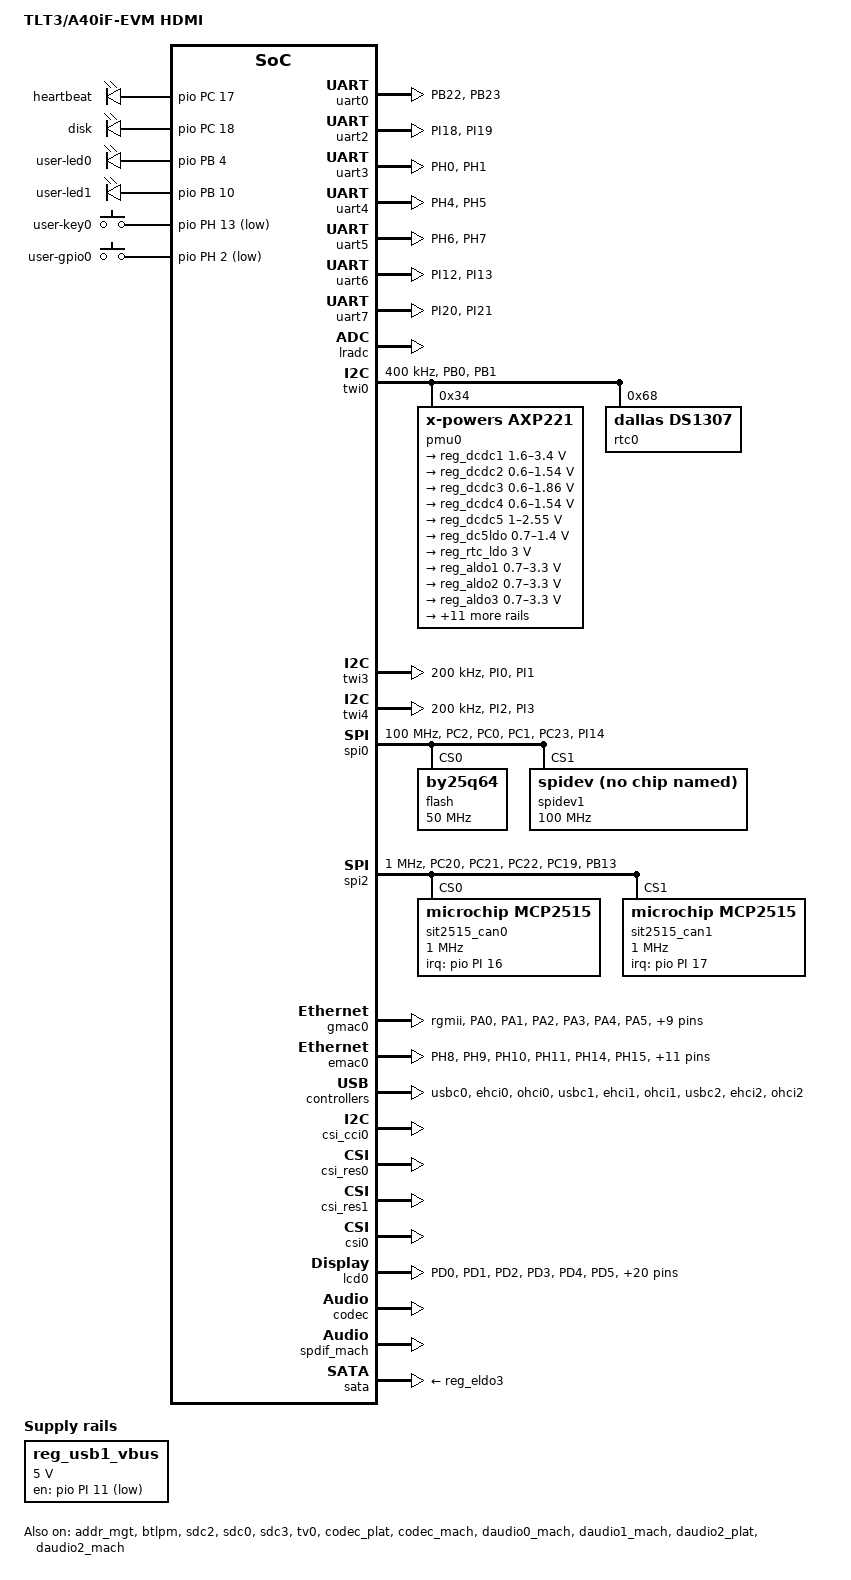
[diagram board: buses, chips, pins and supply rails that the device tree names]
/*
 * Copyright (C) 2015 GuangZhou Tronlong co., LTD - http://www.tronlong.com
 *
 * This program is free software; you can redistribute it and/or modify
 * it under the terms of the GNU General Public License version 2 as
 * published by the Free Software Foundation.
 */

/dts-v1/;

#include <dt-bindings/gpio/sun4i-gpio.h>

#include "sun8iw11p1.dtsi"

/{
	model = "TLT3/A40iF-EVM HDMI";

	aliases {
		pmu0 = &pmu0;
		standby_param = &standby_param;
		ethernet0 = &gmac0;
		ethernet1 = &emac0;
	};

	clk_sit2515: sit2515 {
		#clock-cells = <0>;
		compatible = "fixed-clock";
		clock-frequency = <16000000>;
		clock-output-names = "sit2515";
	};

	soc@1c00000 {
		card0_boot_para@2 {
		/* Avoid dtc compiling warnings. */
		reg = <0x0 0x2 0x0 0x0>;
		device_type = "card0_boot_para";
		card_ctrl = <0x0>;
		card_high_speed = <0x1>;
		card_line = <0x4>;
		pinctrl-0 = <&sdc0_pins_uboot>;
		};

		card2_boot_para@3 {
			/* Avoid dtc compiling warnings. */
			reg = <0x0 0x3 0x0 0x0>;
			device_type = "card2_boot_para";
			card_ctrl = <0x2>;
			card_high_speed = <0x1>;
			card_line = <0x8>;
			pinctrl-0 = <&sdc2_pins_uboot>;
			sdc_ex_dly_used = <0x2>;
			sdc_io_1v8 = <0x1>;
			sdc_type = "tm4";
		};

		platform@1 {
			eraseflag   = <1>;
			next_work   = <3>;
			debug_mode  = <1>;
		};
	};

	leds {
		compatible = "gpio-leds";
		status = "okay";

		led@0 {
			label = "heartbeat";
			gpios = <&pio PC 17 0>;   /* PC17 */
			linux,default-trigger = "heartbeat";
		};

		led@1 {
			label = "disk";
			gpios = <&pio PC 18 0>;   /* PC18 */
			linux,default-trigger = "mmc0";
		};

		led@2 {
			label = "user-led0";
			gpios = <&pio PB 4 0>;   /* PB4 */
			default-state = "on";
		};

		led@3 {
			label = "user-led1";
			gpios = <&pio PB 10 0>;   /* PB10 */
			default-state = "on";
		};
	};

	gpio-keys {
		compatible = "gpio-keys";
		#address-cells = <1>;
		#size-cells = <0>;

		user_key@0 {
			label = "user-key0";
			linux,code = <202>; /* KEY0-KEY_PROG3 */
			gpios = <&pio PH 13 1>;
			debounce-interval = <0>;
		};

		user_gpio@0 {
			label = "user-gpio0";
			linux,code = <194>; /* GPIO0-KEY_F24 */
			gpios = <&pio PH 2 1>;
			debounce-interval = <0>;
		};
	};

	standby_param: standby_param {
		vdd-cpu = <0x00000002>;
		vdd-sys = <0x00000004>;
		vcc-pll = <0x00000000>;
		osc24m-on = <0x1>;
	};

	reg_usb1_vbus: usb1-vbus {
		compatible = "regulator-fixed";
		gpio = <&pio PI 11 GPIO_ACTIVE_LOW>;
		regulator-name = "usb1-vbus";
		regulator-min-microvolt = <5000000>;
		regulator-max-microvolt = <5000000>;
		regulator-enable-ramp-delay = <1000>;
		enable-active-low;
	};

};
&pio {

	uart0_pins_a: uart0_pins@0 {
		pins = "PB22", "PB23";
		function = "uart0";
	};

	uart0_pins_b: uart0_pins@1 {
		pins = "PB22", "PB23";
		function = "gpio_in";
	};
	uart1_pins_a: uart1_pins@0 {
		pins = "PA10", "PA11", "PA12", "PA13",
					 "PA14", "PA15", "PA16", "PA17";
		function = "uart1";
	};

	uart1_pins_b: uart1_pins@1 {
		pins = "PA10", "PA11", "PA12", "PA13",
					 "PA14", "PA15", "PA16", "PA17";
		function = "gpio_in";
	};

	uart2_pins_a: uart2_pins@0 {
		pins = "PI18", "PI19";
		function = "uart2";
	};

	uart2_pins_b: uart2_pins@1 {
		pins = "PI18", "PI19";
		function = "gpio_in";
	};

	uart3_pins_a: uart3_pins@0 {
		pins = "PH0", "PH1";
		function = "uart3";
	};

	uart3_pins_b: uart3_pins@1 {
		pins = "PH0", "PH1";
		function = "gpio_in";
	};

	uart4_pins_a: uart4_pins@0 {
		pins = "PH4", "PH5";
		function = "uart4";
	};

	uart4_pins_b: uart4_pins@1 {
		pins = "PH4", "PH5";
		function = "gpio_in";
	};

	uart5_pins_a: uart5_pins@0 {
		pins = "PH6", "PH7";
		function = "uart5";
	};

	uart5_pins_b: uart5_pins@1 {
		pins = "PH6", "PH7";
		function = "gpio_in";
	};

	uart6_pins_a: uart6_pins@0 {
		pins = "PI12", "PI13";
		function = "uart6";
	};

	uart6_pins_b: uart6_pins@1 {
		pins = "PI12", "PI13";
		function = "gpio_in";
	};

	uart7_pins_a: uart7_pins@0 {
		pins ="PI20", "PI21" ;
		function = "uart7";
	};

	uart7_pins_b: uart7_pins@1 {
		pins ="PI20", "PI21" ;
		function = "gpio_in";
	};

	spi0_pins_a: spi0@0 {
		pins = "PC2", "PC0", "PC1";     /*CLK  MOSI  MISO*/
		function = "spi0";
		muxsel = <3>;
		drive-strength = <10>;
	};

	spi0_pins_cs0: spi0@1 {
		pins = "PC23";    /*CS0*/
		function = "spi0";
		muxsel = <3>;
		drive-strength = <10>;
		bias-pull-up;   /* only CS should be pulled up */
	};

	spi0_pins_cs1: spi0@2 {
		pins = "PI14";    /*CS1*/
		function = "spi0";
		muxsel = <3>;
		drive-strength = <10>;
		bias-pull-up;   /* only CS should be pulled up */
	};

	spi0_pins_c: spi0@3 {
		pins = "PC2", "PC0", "PC1", "PC15", "PC16", "PC23";
		function = "gpio_in";
		muxsel = <0>;
		drive-strength = <10>;
	};

	spi1_pins_a: spi1@0 {
		pins = "PA1", "PA2", "PA3";     /*CLK  MOSI  MISO*/
		function = "spi1";
		muxsel = <3>;
		drive-strength = <10>;
	};

	spi1_pins_cs: spi1@1 {
		pins = "PA0";    /*CS0*/
		function = "spi1";
		muxsel = <3>;
		drive-strength = <10>;
		bias-pull-up;   /* only CS should be pulled up */
	};

	spi2_pins_a: spi2@0 {
		pins = "PC20", "PC21", "PC22";     /*CLK  MOSI  MISO*/
		function = "spi2";
		muxsel = <3>;
		drive-strength = <10>;
	};

	spi2_pins_cs: spi2@1 {
		pins = "PC19", "PB13";    /*CS0*/
		function = "spi2";
		muxsel = <3>;
		drive-strength = <10>;
		bias-pull-up;   /* only CS should be pulled up */
	};

	sdc0_pins_uboot: sdc0_uboot@0 {
		pins = "PF0", "PF1", "PF2", "PF3","PF4","PF5";
		function = "sdc0";
		muxsel = <3>;
		bias-pull-up;
		drive-strength = <30>;
	};

	sdc2_pins_uboot: sdc2_uboot@0 {
		pins = "PC5", "PC6","PC7", "PC8", "PC9","PC10","PC11","PC12","PC13","PC14","PC15","PC24";
		function = "sdc2";
		muxsel = <3>;
		bias-pull-up;
		drive-strength = <30>;
	};

	sdc0_pins_a: sdc0@0 {
	                    pins = "PF0", "PF1", "PF2",
	                           "PF3", "PF4", "PF5";
	                    function = "sdc0";
	                    drive-strength = <30>;
	                    bias-pull-up;
	            };

	sdc0_pins_b: sdc0@1 {
	        pins = "PF0", "PF1", "PF2",
	               "PF3", "PF4", "PF5";
	        function = "sdc0";
	        drive-strength = <30>;
	        bias-pull-up;
	};

	sdc0_pins_c: sdc0@2 {
	        pins = "PF0", "PF1", "PF2",
	               "PF3", "PF4", "PF5";
	        function = "gpio_in";
	};

	/* TODO: add jtag pin */
	sdc0_pins_d: sdc0@3 {
	        pins = "PF2", "PF4";
	        function = "uart0";
	        drive-strength = <10>;
	        bias-pull-up;
	};

	sdc0_pins_e: sdc0@4 {
	        pins = "PF0", "PF1", "PF3",
	                "PF5";
	        function = "jtag";
	        drive-strength = <10>;
	        bias-pull-up;
	};

	sdc1_pins_a: sdc1@0 {
		pins = "PH22", "PH23", "PH24", "PH25", "PH26", "PH27";
		function = "sdc1";
		drive-strength = <30>;
		bias-pull-up;
	};

	sdc1_pins_b: sdc1@1 {
		pins = "PH22", "PH23", "PH24", "PH25", "PH26", "PH27";
		function = "gpio_in";
		bias-pull-up;
	};

	sdc2_pins_a: sdc2@0 {
		pins = "PC6","PC7", "PC8", "PC9","PC10","PC11","PC12","PC13","PC14","PC15","PC24";
		function = "sdc2";
		drive-strength = <30>;
		bias-pull-up;
	};

	sdc2_pins_b: sdc2@1 {
		pins = "PC6","PC7", "PC8", "PC9","PC10","PC11","PC12","PC13","PC14","PC15","PC24";
		function = "gpio_in";
		bias-pull-up;
	};

	sdc2_pins_c: sdc2@2 {
		allwinner,pins = "PC5";
		allwinner,function = "sdc2";
		drive-strength = <30>;
		bias-pull-down;
	};

	sdc3_pins_a: sdc3@0 {
		pins = "PI4", "PI5","PI6", "PI7", "PI8","PI9";
		function = "sdc3";
		allwinner,drive = <3>;
		drive-strength = <30>;
		bias-pull-up;
	};

	sdc3_pins_b: sdc3@1 {
		pins = "PI4", "PI5","PI6", "PI7", "PI8","PI9";
		function = "io_disabled";
		allwinner,drive = <3>;
		drive-strength = <30>;
		bias-pull-up;
	};

	gmac_pins_a: gmac@0 {
		allwinner,pins = "PA0", "PA1", "PA2", "PA3",
				"PA4", "PA5", "PA6", "PA7",
				"PA8", "PA9", "PA10", "PA11",
				"PA11", "PA12", "PA13", "PA15";
		allwinner,function = "gmac0";
		allwinner,muxsel = <5>;
		allwinner,drive = <3>;
		allwinner,pull = <0>;
	};

	emac_pins_a: emac@0 {
		allwinner,pins = "PH8", "PH9", "PH10", "PH11",
				"PH14", "PH15", "PH16", "PH17",
				"PH18", "PH19", "PH20", "PH21",
				"PH22", "PH23", "PH24", "PH25",
				"PH26";
		allwinner,function = "emac0";
		allwinner,muxsel = <3>;
		allwinner,drive = <3>;
		allwinner,pull = <0>;
	};

	pwm0_pin_a: pwm0@0 {
		pins = "PB2";
		function = "pwm0";
		drive-strength = <10>;
		bias-pull-up;
	};

	pwm0_pin_b: pwm0@1 {
		pins = "PB2";
		function = "gpio_in";
		bias-disable;
	};

	pwm1_pin_a: pwm1@0 {
		pins = "PB3";
		function = "pwm1";
		drive-strength = <10>;
		bias-pull-up;
	};

	pwm1_pin_b: pwm1@1 {
		pins = "PB3";
		function = "gpio_in";
		bias-disable;
	};

	pwm4_pin_a: pwm4@0 {
		pins = "PB20";
		function = "pwm4";
		drive-strength = <10>;
		bias-pull-up;
	};

	pwm4_pin_b: pwm4@1 {
		pins = "PB20";
		function = "gpio_in";
		bias-disable;
	};

	twi0_pins_a: twi0@0 {
		pins = "PB0", "PB1";
		function = "twi0";
		drive-strength = <10>;
		bias-pull-up;
	};

	twi0_pins_b: twi0@1 {
		pins = "PB0", "PB1";
		function = "gpio_in";
	};

	twi1_pins_a: twi1@0 {
		pins = "PB18", "PB19";
		function = "twi1";
		drive-strength = <10>;
		bias-pull-up;
	};

	twi1_pins_b: twi1@1 {
		pins = "PB18", "PB19";
		function = "gpio_in";
	};

	twi2_pins_a: twi2@0 {
		pins = "PB20", "PB21";
		function = "twi2";
		drive-strength = <10>;
		bias-pull-up;
	};

	twi2_pins_b: twi2@1 {
		pins = "PB20", "PB21";
		function = "gpio_in";
	};

	twi3_pins_a: twi3@0 {
		pins = "PI0", "PI1";
		function = "twi3";
		drive-strength = <10>;
		bias-pull-up;
	};

	twi3_pins_b: twi3@1 {
		pins = "PI0", "PI1";
		function = "gpio_in";
	};

	twi4_pins_a: twi4@0 {
		pins = "PI2", "PI3";
		function = "twi4";
		drive-strength = <10>;
		bias-pull-up;
	};

	twi4_pins_b: twi4@1 {
		pins = "PI2", "PI3";
		function = "gpio_in";
	};

	spdif_pins_a: spdif@0 {
		pins = "PB3", "PB12", "PB13";
		function = "spdif0";
		drive-strength = <20>;
		bias-disable;
	};

	spdif_pins_b: spdif_sleep@0 {
		pins = "PB3", "PB12", "PB13";
		function = "io_disabled";
		drive-strength = <20>;
		bias-disable;
	};

	daudio0_pins_a: daudio0@0 {
		pins = "PB5", "PB6", "PB7", "PB8",
		       "PB9", "PB10", "PB11", "PB12";
		function = "i2s0";
		drive-strength = <20>;
		bias-disable;
	};

	daudio0_pins_b: daudio0_sleep@0 {
		pins = "PB5", "PB6", "PB7", "PB8",
		       "PB9", "PB10", "PB11", "PB12";
		function = "io_disabled";
		drive-strength = <20>;
		bias-disable;
	};

	daudio1_pins_a: daudio1@0 {
		pins = "PA9", "PA14", "PA15",
		       "PA16", "PA17";
		function = "i2s1";
		drive-strength = <20>;
		bias-disable;
	};

	daudio1_pins_b: daudio1_sleep@0 {
		pins = "PA9", "PA14", "PA15",
		       "PA16", "PA17";
		function = "io_disabled";
		drive-strength = <20>;
		bias-disable;
	};

	ir0_pins_a: ir0@0 {
		pins = "PB4";
		function = "ir0";
		drive-strength = <10>;
		bias-pull-up;
	};

	ir0_pins_b: ir0@1 {
		pins = "PB4";
		function = "gpio_in";
		bias-disable;
	};

	ir1_pins_a: ir1@0 {
		pins = "PB23";
		function = "ir1";
		drive-strength = <10>;
		bias-pull-up;
	};

	ir1_pins_b: ir1@1 {
		pins = "PB23";
		function = "gpio_in";
		bias-disable;
	};

	rgb18_pins_a: rgb18@0 {
		pins = "PD0", "PD1", "PD2", "PD3", "PD4", "PD5", \
			"PD6", "PD7", "PD8", "PD9", "PD10", "PD11", \
			"PD12", "PD13", "PD14", "PD15", "PD16", "PD17", \
			"PD18", "PD19", "PD20", "PD21", "PD22", "PD23", \
			"PD24", "PD25";
		function = "lcd0";
		drive-strength = <30>;
		bias-disable;
	};

	rgb18_pins_b: rgb18@1 {
		pins = "PD0", "PD1", "PD2", "PD3", "PD4", "PD5", \
			"PD6", "PD7", "PD8", "PD9", "PD10", "PD11", \
			"PD12", "PD13", "PD14", "PD15", "PD16", "PD17", \
			"PD18", "PD19", "PD20", "PD21", "PD22", "PD23", \
			"PD24", "PD25";
		function = "io_disabled";
		bias-disable;
	};

	vga_sync_a: vga_sync@0 {
		pins = "PD26", "PD27";
		function = "lcd0";
		drive-strength = <30>;
		bias-disable;
	};

	vga_sync_b: vga_sync@1 {
		pins = "PD26", "PD27";
		function = "io_disabled";
		drive-strength = <30>;
		bias-disable;
	};
};

&uart0 {
	pinctrl-names = "default", "sleep";
	pinctrl-0 = <&uart0_pins_a>;
	pinctrl-1 = <&uart0_pins_b>;
	status = "okay";
};

&uart1 {
	pinctrl-names = "default", "sleep";
	pinctrl-0 = <&uart1_pins_a>;
	pinctrl-1 = <&uart1_pins_b>;
	status = "disabled";
};

&uart2 {
	pinctrl-names = "default", "sleep";
	pinctrl-0 = <&uart2_pins_a>;
	pinctrl-1 = <&uart2_pins_b>;
	status = "okay";
};

&uart3 {
	pinctrl-names = "default", "sleep";
	pinctrl-0 = <&uart3_pins_a>;
	pinctrl-1 = <&uart3_pins_b>;
	status = "okay";
};

&uart4 {
	pinctrl-names = "default", "sleep";
	pinctrl-0 = <&uart4_pins_a>;
	pinctrl-1 = <&uart4_pins_b>;
	status = "okay";
};

&uart5 {
	pinctrl-names = "default", "sleep";
	pinctrl-0 = <&uart5_pins_a>;
	pinctrl-1 = <&uart5_pins_b>;
	/* rs485-enable = <0>;					*/
	/* rs485-mode = <0>;   /* defalut 0:rx 1:tx		*/
	/* rs485-mode-pin = <&pio PH 8 GPIO_ACTIVE_LOW>;	*/
	status = "okay";
};

&uart6 {
	pinctrl-names = "default", "sleep";
	pinctrl-0 = <&uart6_pins_a>;
	pinctrl-1 = <&uart6_pins_b>;
	status = "okay";
};

&uart7 {
	pinctrl-names = "default", "sleep";
	pinctrl-0 = <&uart7_pins_a>;
	pinctrl-1 = <&uart7_pins_b>;
	status = "okay";
};

&lradc{
	status = "okay";
	key_cnt = <5>;
	key0 = <190 148>;		/* KEY0-KEY_PROG1 */
	key1 = <390 114>;
	key2 = <600 139>;
	key3 = <800 28>;
	key4 = <980 102>;
	keyadc1_cnt = <5>;
	keyadc1_0 = <190 149>;		/* KEY0-KEY_PROG2 */
	keyadc1_1 = <390 203>;		/* KEY0-KEY_PROG4 */
	keyadc1_2 = <600 240>;		/* KEY0-KEY_UNKNOWN */
	keyadc1_3 = <800 240>;		/* KEY0-KEY_UNKNOWN */
	keyadc1_4 = <980 240>;		/* KEY0-KEY_UNKNOWN */
	wakeup-source;
};

&ir0 {
	pinctrl-names = "default", "sleep";
	pinctrl-0 = <&ir0_pins_a>;
	pinctrl-1 = <&ir0_pins_b>;
	status = "disabled";
};

&ir1 {
	pinctrl-names = "default", "sleep";
	pinctrl-0 = <&ir1_pins_a>;
	pinctrl-1 = <&ir1_pins_b>;
	status = "disabled";
};

&twi0 {
	clock-frequency = <400000>;
	pinctrl-0 = <&twi0_pins_a>;
	pinctrl-1 = <&twi0_pins_b>;
	pinctrl-names = "default", "sleep";
	no_suspend = <1>;
	status = "okay";
	pmu0: pmu@34 {
		compatible = "x-powers,axp221";
		reg = <0x34>;
		status = "okay";
		interrupts = <0 IRQ_TYPE_LEVEL_LOW>;
		interrupt-parent = <&nmi_intc>;
		x-powers,gpio-vbus-en;
		pmu_reset = <0>;
		pmu_irq_wakeup = <1>;
		pmu_hot_shutdown = <1>;

		wakeup-source;

		powerkey0: powerkey@0 {
			status = "okay";
			compatible = "x-powers,axp2101-pek";
			pmu_powkey_off_time = <6000>;
			pmu_powkey_off_func = <0>;
			pmu_powkey_off_en = <1>;
			pmu_powkey_long_time = <1500>;
			pmu_powkey_on_time = <1000>;
			wakeup_rising;
			wakeup_falling;
		};

		usb_power_supply: usb_power_supply {
			compatible = "x-powers,axp22x-usb-power-supply";
			status = "okay";

			pmu_usbpc_vol = <4400>;
			pmu_usbpc_cur = <500>;
			pmu_usbad_vol = <4000>;
			pmu_usbad_cur = <2500>;
			pmu_usb_typec_used = <1>;
			wakeup_usb_in;
			wakeup_usb_out;
		};

		ac_power_supply: ac-power-supply {
			compatible = "x-powers,axp22x-ac-power-supply";
			status = "okay";

			pmu_ac_vol = <4000>;
			pmu_ac_cur = <3000>;

			wakeup_ac_in;
			wakeup_ac_out;
		};

		bat_power_supply: bat_power_supply {
			compatible = "x-powers,axp22x-bat-power-supply";
			status = "okay";

			pmu_bat_unused = <1>;
			pmu_chg_ic_temp = <0>;
			pmu_battery_rdc= <100>;
			pmu_battery_cap = <4000>;
			pmu_runtime_chgcur = <300>;
			pmu_suspend_chgcur = <1000>;
			pmu_shutdown_chgcur = <1500>;
			pmu_init_chgvol = <4200>;
			pmu_battery_warning_level1 = <15>;
			pmu_battery_warning_level2 = <0>;
			pmu_chgled_func = <0>;
			pmu_chgled_type = <0>;
			pmu_bat_para1 = <0>;
			pmu_bat_para2 = <0>;
			pmu_bat_para3 = <0>;
			pmu_bat_para4 = <0>;
			pmu_bat_para5 = <0>;
			pmu_bat_para6 = <0>;
			pmu_bat_para7 = <0>;
			pmu_bat_para8 = <0>;
			pmu_bat_para9 = <5>;
			pmu_bat_para10 = <8>;
			pmu_bat_para11 = <9>;
			pmu_bat_para12 = <10>;
			pmu_bat_para13 = <13>;
			pmu_bat_para14 = <16>;
			pmu_bat_para15 = <20>;
			pmu_bat_para16 = <33>;
			pmu_bat_para17 = <41>;
			pmu_bat_para18 = <46>;
			pmu_bat_para19 = <50>;
			pmu_bat_para20 = <53>;
			pmu_bat_para21 = <57>;
			pmu_bat_para22 = <61>;
			pmu_bat_para23 = <67>;
			pmu_bat_para24 = <73>;
			pmu_bat_para25 = <78>;
			pmu_bat_para26 = <84>;
			pmu_bat_para27 = <88>;
			pmu_bat_para28 = <92>;
			pmu_bat_para29 = <93>;
			pmu_bat_para30 = <94>;
			pmu_bat_para31 = <95>;
			pmu_bat_para32 = <100>;

			pmu_bat_temp_enable = <0>;
			pmu_bat_charge_ltf = <2261>;
			pmu_bat_charge_htf = <388>;
			pmu_bat_shutdown_ltf = <3200>;
			pmu_bat_shutdown_htf = <237>;
			pmu_bat_temp_para1 = <7466>;
			pmu_bat_temp_para2 = <4480>;
			pmu_bat_temp_para3 = <3518>;
			pmu_bat_temp_para4 = <2786>;
			pmu_bat_temp_para5 = <2223>;
			pmu_bat_temp_para6 = <1788>;
			pmu_bat_temp_para7 = <1448>;
			pmu_bat_temp_para8 = <969>;
			pmu_bat_temp_para9 = <664>;
			pmu_bat_temp_para10 = <466>;
			pmu_bat_temp_para11 = <393>;
			pmu_bat_temp_para12 = <333>;
			pmu_bat_temp_para13 = <283>;
			pmu_bat_temp_para14 = <242>;
			pmu_bat_temp_para15 = <179>;
			pmu_bat_temp_para16 = <134>;

			wakeup_bat_out;
			/* wakeup_bat_in; */
			/* wakeup_bat_charging; */
			/* wakeup_bat_charge_over; */
			/* wakeup_low_warning1; */
			/* wakeup_low_warning2; */
			/* wakeup_bat_untemp_work; */
			/* wakeup_bat_ovtemp_work; */
			/* wakeup_bat_untemp_chg; */
			/* wakeup_bat_ovtemp_chg; */
		};

		regulator0: regulators@0 {
			reg_dcdc1: dcdc1 {
				regulator-name = "axp22x-dcdc1";
				regulator-min-microvolt = <1600000>;
				regulator-max-microvolt = <3400000>;
				regulator-ramp-delay = <160>;
				regulator-enable-ramp-delay = <1000>;
				regulator-boot-on;
				regulator-always-on;
			};
			reg_dcdc2: dcdc2 {
				regulator-name = "axp22x-dcdc2";
				regulator-min-microvolt = <600000>;
				regulator-max-microvolt = <1540000>;
				regulator-final-delay-us = <1000>;
				regulator-ramp-delay = <160>;
				regulator-enable-ramp-delay = <1000>;
				regulator-boot-on;
				regulator-always-on;
			};
			reg_dcdc3: dcdc3 {
				regulator-name = "axp22x-dcdc3";
				regulator-min-microvolt = <600000>;
				regulator-max-microvolt = <1860000>;
				regulator-ramp-delay = <160>;
				regulator-enable-ramp-delay = <1000>;
				regulator-boot-on;
				regulator-always-on;
			};
			reg_dcdc4: dcdc4 {
				regulator-name = "axp22x-dcdc4";
				regulator-min-microvolt = <600000>;
				regulator-max-microvolt = <1540000>;
				regulator-ramp-delay = <160>;
				regulator-enable-ramp-delay = <1000>;
				regulator-boot-on;
				regulator-always-on;
			};
			reg_dcdc5: dcdc5 {
				regulator-name = "axp22x-dcdc5";
				regulator-min-microvolt = <1000000>;
				regulator-max-microvolt = <2550000>;
				regulator-ramp-delay = <160>;
				regulator-enable-ramp-delay = <1000>;
				regulator-boot-on;
				regulator-always-on;
			};
			reg_dc5ldo: dc5ldo {
				regulator-name = "axp22x-dc5ldo";
				regulator-min-microvolt = <700000>;
				regulator-max-microvolt = <1400000>;
				regulator-ramp-delay = <160>;
				regulator-enable-ramp-delay = <1000>;
				regulator-boot-on;
				regulator-always-on;
			};
			reg_rtc_ldo: rtc_ldo {
				/* RTC_LDO is a fixed, always-on regulator */
				regulator-name = "axp22x-rtc_ldo";
				regulator-min-microvolt = <3000000>;
				regulator-max-microvolt = <3000000>;
				regulator-boot-on;
				regulator-always-on;
			};
			reg_aldo1: aldo1 {
				regulator-name = "axp22x-aldo1";
				regulator-min-microvolt = <700000>;
				regulator-max-microvolt = <3300000>;
				regulator-enable-ramp-delay = <1000>;
			};
			reg_aldo2: aldo2 {
				regulator-name = "axp22x-aldo2";
				regulator-min-microvolt = <700000>;
				regulator-max-microvolt = <3300000>;
				regulator-enable-ramp-delay = <1000>;
				regulator-boot-on;
				regulator-always-on;
			};
			reg_aldo3: aldo3 {
				regulator-name = "axp22x-aldo3";
				regulator-min-microvolt = <700000>;
				regulator-max-microvolt = <3300000>;
				regulator-enable-ramp-delay = <1000>;
				regulator-always-on;
			};
			reg_dldo1: dldo1 {
				regulator-name = "axp22x-dldo1";
				regulator-min-microvolt = <3300000>;
				regulator-max-microvolt = <3300000>;
				regulator-enable-ramp-delay = <1000>;
				regulator-always-on;
				regulator-boot-on;
			};
			reg_dldo2: dldo2 {
				regulator-name = "axp22x-dldo2";
				regulator-min-microvolt = <700000>;
				regulator-max-microvolt = <3300000>;
				regulator-enable-ramp-delay = <1000>;
			};
			reg_dldo3: dldo3 {
				regulator-name = "axp22x-dldo3";
				regulator-min-microvolt = <700000>;
				regulator-max-microvolt = <3300000>;
				regulator-enable-ramp-delay = <1000>;
				regulator-always-on;
				regulator-boot-on;
			};
			reg_dldo4: dldo4 {
				regulator-name = "axp22x-dldo4";
				regulator-min-microvolt = <2500000>;
				regulator-max-microvolt = <2500000>;
				regulator-enable-ramp-delay = <1000>;
				regulator-always-on;
				regulator-boot-on;
			};
			reg_eldo1: eldo1 {
				regulator-name = "axp22x-eldo1";
				regulator-min-microvolt = <2800000>;
				regulator-max-microvolt = <2800000>;
				regulator-enable-ramp-delay = <1000>;
				regulator-always-on;
				regulator-boot-on;
			};
			reg_eldo2: eldo2 {
				regulator-name = "axp22x-eldo2";
				regulator-min-microvolt = <3300000>;
				regulator-max-microvolt = <3300000>;
				regulator-enable-ramp-delay = <1000>;
				regulator-always-on;
				regulator-boot-on;
			};
			reg_eldo3: eldo3 {
				regulator-name = "axp22x-eldo3";
				regulator-min-microvolt = <1200000>;
				regulator-max-microvolt = <1200000>;
				regulator-enable-ramp-delay = <1000>;
				regulator-always-on;
				regulator-boot-on;
			};
			reg_ldo_io0: ldo_io0 {
				regulator-name = "axp22x-ldo_io0";
				regulator-min-microvolt = <700000>;
				regulator-max-microvolt = <3300000>;
				regulator-enable-ramp-delay = <1000>;
			};
			reg_ldo_io1: ldo_io1 {
				regulator-name = "axp22x-ldo_io1";
				regulator-min-microvolt = <700000>;
				regulator-max-microvolt = <3300000>;
				regulator-enable-ramp-delay = <1000>;
			};
			reg_dc1sw: dc1sw {
				regulator-name = "axp22x-dc1sw";
				regulator-enable-ramp-delay = <1000>;
			};
			reg_drivevbus: drivevbus {
				regulator-name = "axp22x-drivevbus";
				regulator-enable-ramp-delay = <1000>;
			};
		};

		virtual-dcdc1 {
			compatible = "xpower-vregulator,dcdc1";
			dcdc1-supply = <&reg_dcdc1>;
		};
		virtual-dcdc2 {
			compatible = "xpower-vregulator,dcdc2";
			dcdc2-supply = <&reg_dcdc2>;
		};
		virtual-dcdc3 {
			compatible = "xpower-vregulator,dcdc3";
			dcdc3-supply = <&reg_dcdc3>;
		};
		virtual-dcdc4 {
			compatible = "xpower-vregulator,dcdc4";
			dcdc4-supply = <&reg_dcdc4>;
		};
		virtual-dcdc5 {
			compatible = "xpower-vregulator,dcdc5";
			dcdc5-supply = <&reg_dcdc5>;
		};
		virtual-rtc_ldo {
			compatible = "xpower-vregulator,rtc_ldo";
			rtc_ldo-supply = <&reg_rtc_ldo>;
		};
		virtual-aldo1 {
			compatible = "xpower-vregulator,aldo1";
			aldo1-supply = <&reg_aldo1>;
		};
		virtual-aldo2 {
			compatible = "xpower-vregulator,aldo2";
			aldo2-supply = <&reg_aldo2>;
		};
		virtual-aldo3 {
			compatible = "xpower-vregulator,aldo3";
			aldo3-supply = <&reg_aldo3>;
		};
		virtual-dldo1 {
			compatible = "xpower-vregulator,dldo1";
			dldo1-supply = <&reg_dldo1>;
		};
		virtual-dldo2 {
			compatible = "xpower-vregulator,dldo2";
			dldo2-supply = <&reg_dldo2>;
		};
		virtual-dldo3 {
			compatible = "xpower-vregulator,dldo3";
			dldo3-supply = <&reg_dldo3>;
		};
		virtual-dldo4 {
			compatible = "xpower-vregulator,dldo4";
			dldo4-supply = <&reg_dldo4>;
		};
		virtual-eldo1 {
			compatible = "xpower-vregulator,eldo1";
			eldo1-supply = <&reg_eldo1>;
		};
		virtual-eldo2 {
			compatible = "xpower-vregulator,eldo2";
			eldo2-supply = <&reg_eldo2>;
		};
		virtual-eldo3 {
			compatible = "xpower-vregulator,eldo3";
			eldo3-supply = <&reg_eldo3>;
		};
		virtual-ldo_io0 {
			compatible = "xpower-vregulator,ldo_io0";
			ldo_io0-supply = <&reg_ldo_io0>;
		};
		virtual-ldo_io1 {
			compatible = "xpower-vregulator,ldo_io1";
			ldo_io1-supply = <&reg_ldo_io1>;
		};
		virtual-dc5ldo {
			compatible = "xpower-vregulator,dc5ldo";
			dc5ldo-supply = <&reg_dc5ldo>;
		};
		virtual-dc1sw {
			compatible = "xpower-vregulator,dc1sw";
			dc1sw-supply = <&reg_dc1sw>;
		};
		axp_gpio0: axp_gpio@0 {
			gpio-controller;
			#size-cells = <0>;
			#gpio-cells = <6>;
			compatible = "x-powers,axp22x-gpio";
			status = "okay";
		};
	};

	rtc0: rtc@0 {
		compatible = "dallas,ds1307";
		reg = <0x68>;
	};
};

&twi1 {
	clock-frequency = <200000>;
	pinctrl-0 = <&twi1_pins_a>;
	pinctrl-1 = <&twi1_pins_b>;
	pinctrl-names = "default", "sleep";
	status = "disabled";
};

&twi2 {
	clock-frequency = <200000>;
	pinctrl-0 = <&twi2_pins_a>;
	pinctrl-1 = <&twi2_pins_b>;
	pinctrl-names = "default", "sleep";
	status = "disabled";
};

&twi3 {
	clock-frequency = <200000>;
	pinctrl-0 = <&twi3_pins_a>;
	pinctrl-1 = <&twi3_pins_b>;
	pinctrl-names = "default", "sleep";
	status = "okay";
};

&twi4 {
	clock-frequency = <200000>;
	pinctrl-0 = <&twi4_pins_a>;
	pinctrl-1 = <&twi4_pins_b>;
	pinctrl-names = "default", "sleep";
	status = "okay";
};

&rtp {
	allwinner,tp-sensitive-adjust = <0x2>;
	allwinner,filter-type = <0x3>;
	status = "disabled";
};

&spi0 {
	clock-frequency = <100000000>;
	pinctrl-names = "default", "sleep";
	pinctrl-0 = <&spi0_pins_a &spi0_pins_cs0 &spi0_pins_cs1>;
	pinctrl-1 = <&spi0_pins_c>;
	spi_slave_mode = <0>;
	status = "okay";

	flash: by25q64@0 {
		compatible = "by25q64", "jedec,spi-nor";
		reg = <0>;
		spi-max-frequency = <50000000>;
		mode = <0>;
		m25p,fast-read;
		status = "okay";
	};

	spidev1: spi@1 {
		compatible = "rohm,dh2228fv";
		reg = <1>;
		spi-max-frequency = <100000000>;
		spi-rx-bus-width = <0x1>;
		spi-tx-bus-width = <0x1>;
		status = "okay";
	};
};

&spi1 {
	clock-frequency = <100000000>;
	pinctrl-names = "default";
	pinctrl-0 = <&spi1_pins_a &spi1_pins_cs>;
	spi_slave_mode = <0>;
	status = "disabled";
};

&spi2 {
	clock-frequency = <1000000>;
	pinctrl-names = "default";
	pinctrl-0 = <&spi2_pins_a &spi2_pins_cs>;
	spi_slave_mode = <0>;
	status = "okay";

	sit2515_can0: sit2515@0 {
		#address-cells=<1>;
		#size-cells=<1>;
		compatible = "microchip,mcp2515";
		pinctrl-names = "default";
		reg = <0>;
		spi-max-frequency = <1000000>;
		clocks = <&clk_sit2515>;
		interrupt-parent = <&pio>;
		interrupts = <PI 16 IRQ_TYPE_LEVEL_LOW>;
		status = "okay";
	};

	sit2515_can1: sit2515@1 {
		#address-cells=<1>;
		#size-cells=<1>;
		compatible = "microchip,mcp2515";
		pinctrl-names = "default";
		reg = <1>;
		spi-max-frequency = <1000000>;
		clocks = <&clk_sit2515>;
		interrupt-parent = <&pio>;
		interrupts = <PI 17 IRQ_TYPE_LEVEL_LOW>;
		status = "okay";
	};
};

&gmac0 {
	phy-mode = "rgmii";
	pinctrl-names = "default";
	pinctrl-0 = <&gmac_pins_a>;
	tx-delay = <0>;
	rx-delay = <0>;
	sunxi,phy-clk-type = <1>;
	gmac-power0-supply = <&reg_aldo1>;
	gmac-power1-supply;
	gmac-power2-supply;
	gmac-power0-vol = <3000000>;
	gmac-power1-vol;
	gmac-power2-vol;
	phy-rst = <&pio PA 17 1 1 1 0>;
	phy-tx-delay = <15>;	/* yt8521sh tx delay: 0~15, 150ps each step */
	phy-rx-delay = <3>;	/* yt8521sh rx delay: 0~15, 150ps each step */
	status = "okay";
};

&emac0 {
	pinctrl-names = "default";
	pinctrl-0     = <&emac_pins_a>;
	phy-rst = <&pio PB 2 GPIO_ACTIVE_LOW>;
	status = "okay";
};

&phy1 {
	reg = <0>;
};

&rfkill {
	compatible = "allwinner,sunxi-rfkill";
	chip_en;
	power_en;
	pinctrl-0;
	pinctrl-names;
	status = "disabled";

	/* , "PH2", "PH3";wlan session */
	wlan {
		compatible    = "allwinner,sunxi-wlan";
		/* clocks        = <&rtc_ccu CLK_DCXO24M_OUT>, <&rtc_ccu CLK_OSC32K_OUT>;	*/
		/* clock-names   = "dcxo24M-out", "osc32k-out";	*/
		wlan_power    = "axp22x-dldo1";
		wlan_power_vol= <3300000>;
		wlan_busnum   = <0x3>;
		wlan_regon    = <&pio PH 2 GPIO_ACTIVE_HIGH>;
		wlan_hostwake = <&pio PH 3 GPIO_ACTIVE_HIGH>;
		wakeup-source;
		status        = "okay";
	};

	/* bt session */
	bt {
		compatible    = "allwinner,sunxi-bt";
		/* clocks        = <&rtc_ccu CLK_DCXO24M_OUT>, <&rtc_ccu CLK_OSC32K_OUT>; */
		/* clock-names   = "dcxo24M-out", "osc32k-out"; */
		bt_power      = "axp22x-dldo1";
		bt_power_vol  = <3300000>;
		/* bt_rst_n      = <&pio PH 15 GPIO_ACTIVE_LOW>; */
		status        = "okay";
	};
};

&addr_mgt {
	compatible     = "allwinner,sunxi-addr_mgt";
	type_addr_wifi = <0x0>;
	type_addr_bt   = <0x0>;
	type_addr_eth  = <0x0>;
	status         = "okay";
};

&btlpm {
	compatible  = "allwinner,sunxi-btlpm";
	uart_index  = <0x3>;
	bt_wake     = <&pio PH 16 GPIO_ACTIVE_HIGH>;
	bt_hostwake = <&pio PH 10 GPIO_ACTIVE_HIGH>;
	wakeup-source;
	status      = "okay";
};

&sdc2 {
	max-frequency = <50000000>;
	no-sdio;
	no-sd;
	/* mmc-ddr-1_8v; */
	/* mmc-hs200-1_8v; */
	/* mmc-hs400-1_8v; */
	sunxi-dis-signal-vol-sw;
	cap-mmc-highspeed;
	cap-cmd23;
	status = "okay";
};

&sdc0 {
	cd-gpios = <&pio PB 6 (GPIO_ACTIVE_LOW | GPIO_PULL_UP)>;
	no-sdio;
        no-mmc;
	sunxi-dis-signal-vol-sw;
	cap-sd-highspeed;
	status = "okay";
};

&sdc1 {
	bus-width = <4>;
	cap-sd-highspeed;
	sd-uhs-sdr25;
	sd-uhs-sdr50;
	sd-uhs-ddr50;
	sd-uhs-sdr104;
	cap-sdio-irq;
	keep-power-in-suspend;
	ignore-pm-notify;
	sunxi-dis-signal-vol-sw;
	max-frequency = <150000000>;
	no-sd;
	no-mmc;
	status = "disabled";
};

&sdc3 {
	pinctrl-0 = <&sdc3_pins_a>;
	pinctrl-1 = <&sdc3_pins_b>;
	/* cd-gpios = <&pio PH 12 (GPIO_ACTIVE_LOW | GPIO_PULL_UP)>; */
	/* no-sdio; */
	/* no-mmc; */
	non-removable;
	sunxi-dis-signal-vol-sw;
	cap-sd-highspeed;
	status = "okay";
};

&usbc0 {
	device_type = "usbc0";
	usb_port_type = <0x2>;
	usb_detect_type = <0x1>;
	usb_detect_mode = <0x1>;
	usb_id_gpio = <&pio PH 12 GPIO_ACTIVE_HIGH>;
	enable-active-high;
	usb_det_vbus_gpio = <&pio PI 10 GPIO_ACTIVE_HIGH>;
	enable-active-high;
	usb_regulator_io = "nocare";
	usbc-supply = <&reg_eldo2>;
	usb_wakeup_suspend = <0x0>;
	usb_luns = <0x3>;
	usb_serial_unique = <0>;
	usb_serial_number = "20080411";
	status = "okay";
};

&udc {
	det_vbus_supply = <&usb_power_supply>;
	udc-supply = <&reg_eldo2>;
};

&ehci0 {
	drvvbus-supply = <&reg_usb1_vbus>;
	hci-supply = <&reg_eldo2>;
	status = "okay";
};

&ohci0 {
	drvvbus-supply = <&reg_usb1_vbus>;
	hci-supply = <&reg_eldo2>;
	status = "okay";
};

&usbc1 {
	device_type = "usbc1";
	usb_regulator_io = "nocare";
	usb_wakeup_suspend = <0x0>;
	status = "okay";
};

&ehci1 {
	status = "okay";
};

&ohci1 {
	status = "okay";
};

&usbc2 {
	device_type = "usbc2";
	usb_regulator_io = "nocare";
	usb_wakeup_suspend = <0x1>;
	wakeup-source;
	status = "okay";
};

&ehci2 {
	status = "okay";
};

&ohci2 {
	status = "okay";
};

&drm {
	boot_disp = <0>;
	boot_fb0 = "";

	/* connector0_output_type = <3>; */
	/* connector0_output_mode = "CEA-016-1920x1080"; */
	connector0_output_type = <1>;
	connector0_output_mode = "";

	connector1_output_type = <0>;
	connector1_output_mode = "";
};
&csi_cci0 {
	status = "okay";
};
&csi_res0 {
	status = "okay";
};
&csi_res1 {
	status = "okay";
};
&csi0 {
	device_type= "csi0";
	cci_sel			= <0>;
	csi_sel			= <0>;
	mipi_sel		= <0>;
	isp_sel			= <0>;
	csi0_sensor_list	= <0>;
	csi0_mck 		= <&pio PE 1 1 0 1 0>; /*PE1 .mul_sel = 1, .pull = 0, .drv_level = 1, .data = 0*/
	status = "okay";
	csi0_dev0:dev@0{
		csi0_dev0_mname         = "generic_csi";
		csi0_dev0_twi_addr      = <0x77>;
		csi0_dev0_twi_id      	= <3>;
		csi0_dev0_pos			= "rear";
		csi0_dev0_isp_used      = <0>;
		csi0_dev0_fmt           = <0>;
		csi0_dev0_stby_mode     = <0>;
		csi0_dev0_vflip         = <0>;
		csi0_dev0_hflip         = <0>;
		csi0_dev0_iovdd-supply  = <&reg_eldo1>;
		csi0_dev0_iovdd_vol     = <2800000>;
		csi0_dev0_avdd-supply   = <>;
		csi0_dev0_avdd_vol      = <2800000>;
		csi0_dev0_dvdd-supply   = <>;
		csi0_dev0_dvdd_vol      = <1500000>;
		csi0_dev0_afvdd-supply  = <>;
		csi0_dev0_afvdd_vol     = <2800000>;
		csi0_dev0_power_en	= <>;
		csi0_dev0_reset 	= <>; /*PC20 .mul_sel = 1, .pull = 0, .drv_level = 1, .data = 0*/
		csi0_dev0_pwdn 		= <>; /*PH16 .mul_sel = 1, .pull = 0, .drv_level = 1, .data = 0*/
		csi0_dev0_flash_en	= <>;
		csi0_dev0_flash_mode	= <>;
		csi0_dev0_af_pwdn	= <>;
		csi0_dev0_act_used      = <0>;
		csi0_dev0_act_name      = "ad5820_act";
		csi0_dev0_act_slave	= <0x18>;
		status	= "okay";
	};
};
&csi1 {
	device_type= "csi1";
	cci_sel			= <0>;
	csi_sel			= <1>;
	mipi_sel		= <0>;
	isp_sel			= <0>;
	csi1_sensor_list	= <0>;
	csi1_mck 		= <&pio PG 1 1 0 1 0>; /*PG1 .mul_sel = 1, .pull = 0, .drv_level = 1, .data = 0*/
	status = "disabled";
	csi1_dev0:dev@0{
		csi1_dev0_mname         = "ov2659_sensor_1";
		csi1_dev0_twi_addr      = <0x60>;
		csi1_dev0_twi_id      	= <4>;
		csi1_dev0_pos		= "front";
		csi1_dev0_isp_used      = <0>;
		csi1_dev0_fmt           = <0>;
		csi1_dev0_stby_mode     = <0>;
		csi1_dev0_vflip         = <0>;
		csi1_dev0_hflip         = <0>;
		csi0_dev0_iovdd-supply  = <&reg_eldo1>;
		csi0_dev0_iovdd_vol     = <2800000>;
		csi1_dev0_avdd          = "";
		csi1_dev0_avdd_vol      = <2800000>;
		csi1_dev0_dvdd          = "";
		csi1_dev0_dvdd_vol      = <1500000>;
		csi1_dev0_afvdd         = "";
		csi1_dev0_afvdd_vol     = <2800000>;
		csi1_dev0_power_en	= <>;
		csi1_dev0_reset 	= <>; /*PH14 .mul_sel = 1, .pull = 0, .drv_level = 1, .data = 0*/
		csi1_dev0_pwdn 		= <>; /*PH17 .mul_sel = 1, .pull = 0, .drv_level = 1, .data = 0*/
		csi1_dev0_flash_en	= <>;
		csi1_dev0_flash_mode	= <>;
		csi1_dev0_af_pwdn	= <>;
		csi1_dev0_act_used      = <0>;
		csi1_dev0_act_name      = "ad5820_act";
		csi1_dev0_act_slave	= <0x18>;
		status	= "disabled";
	};
};

&disp {
	disp_init_enable         = <1>;
	disp_mode                = <0>;

	screen0_output_type      = <4>;
	screen0_output_mode      = <10>;
	screen0_output_format    = <0>;
	screen0_output_bits      = <0>;
	screen0_output_eotf      = <4>;
	screen0_output_cs        = <257>;
	screen0_output_dvi_hdmi  = <2>;
	screen0_output_range     = <2>;
	screen0_output_scan      = <0>;
	screen0_output_aspect_ratio = <8>;

	screen1_output_type      = <1>;
	screen1_output_mode      = <4>;
	screen1_output_format    = <1>;
	screen1_output_bits      = <0>;
	screen1_output_eotf      = <4>;
	screen1_output_cs        = <257>;
	screen1_output_dvi_hdmi  = <2>;
	screen1_output_range     = <2>;
	screen1_output_scan      = <0>;
	screen1_output_aspect_ratio = <8>;
	dev0_output_type         = <4>;
	dev0_output_mode         = <10>;
	dev0_screen_id           = <0>;
	dev0_do_hpd              = <1>;

	dev1_output_type         = <1>;
	dev1_output_mode         = <4>;
	dev1_screen_id           = <1>;
	dev1_do_hpd              = <1>;

	def_output_dev           = <0>;
	hdmi_mode_check          = <1>;

	fb_format                = <0>;
	fb_num                   = <1>;
	/*<disp channel layer zorder>*/
	fb0_map                  = <0 1 0 0>;
	fb0_width                = <1920>;
	fb0_height               = <1080>;
	/*<disp channel layer zorder>*/
	fb1_map                  = <0 2 0 16>;
	fb1_width                = <300>;
	fb1_height               = <300>;
	/*<disp channel layer zorder>*/
	fb2_map                  = <1 0 0 16>;
	fb2_width                = <1024>;
	fb2_height               = <600>;
	/*<disp channel layer zorder>*/
	fb3_map                  = <1 1 0 16>;
	fb3_width                = <300>;
	fb3_height               = <300>;

	chn_cfg_mode             = <1>;

	disp_para_zone           = <1>;

	/* VCC-LVDS  */
	/* vcc-lcd-supply = <&reg_vcc_lcd>; */
	dc1sw-supply = <&reg_dc1sw>;
};

&lcd0 {
	base_config_start   = <1>;
	lcd_used            = <1>;

	lcd_driver_name     = "default_lcd";
	lcd_backlight       = <255>;
	lcd_if              = <0>;
	lcd_x               = <800>;
	lcd_y               = <480>;
	lcd_dclk_freq       = <33>;
	lcd_pwm_used        = <1>;
	lcd_pwm_ch          = <4>;
	lcd_pwm_freq        = <50000>;
	lcd_pwm_pol         = <0>;
	lcd_pwm_max_limit   = <255>;
	lcd_hbp             = <16>;
	lcd_ht              = <1056>;
	lcd_hspw            = <30>;
	lcd_vbp             = <10>;
	lcd_vt              = <525>;
	lcd_vspw            = <13>;
	lcd_lvds_if         = <0>;
	lcd_lvds_colordepth = <0>;
	lcd_lvds_mode       = <0>;
	lcd_frm             = <0>;
	lcd_hv_clk_phase    = <0>;
	lcd_hv_sync_polarity= <0>;
	lcd_gamma_en        = <0>;
	lcd_bright_curve_en = <0>;
	lcd_cmap_en         = <0>;

	deu_mode            = <0>;
	lcdgamma4iep        = <22>;
	smart_color         = <90>;

	lcd_bl_en           = <&pio PB 19 GPIO_ACTIVE_HIGH>;
	lcd_power           = "dc1sw";

	pinctrl-0 = <&rgb18_pins_a>;
	pinctrl-1 = <&rgb18_pins_b>;
	lcd_open_command_0 = <SUNXI_LCD_POWER_ENABLE 0>;
	lcd_open_command_1 = <SUNXI_LCD_PIN_CFG 1>;
	lcd_open_command_2 = <SUNXI_LCD_DELAY_MS 80>;
	lcd_open_command_3 = <SUNXI_LCD_TCON_ENABLE>;
	lcd_open_command_4 = <SUNXI_LCD_DELAY_MS 100>;
	lcd_open_command_5 = <SUNXI_LCD_PWM_ENABLE>;
	lcd_open_command_6 = <SUNXI_LCD_BACKLIGHT_ENABLE>;
	lcd_close_command_0 = <SUNXI_LCD_BACKLIGHT_DISABLE>;
	lcd_close_command_1 = <SUNXI_LCD_PWM_DISABLE>;
	lcd_close_command_2 = <SUNXI_LCD_TCON_DISABLE>;
	lcd_close_command_3 = <SUNXI_LCD_DELAY_MS 200>;
	lcd_close_command_4 = <SUNXI_LCD_PIN_CFG 0>;
	/* lcd_close_command_5 = <SUNXI_LCD_POWER_DISABLE 0>; */
	lcd_gamma_0 = <0 0>;
	lcd_gamma_1 = <15 15>;
	lcd_gamma_2 = <30 30>;
	lcd_gamma_3 = <45 45>;
	lcd_gamma_4 = <60 60>;
	lcd_gamma_5 = <75 75>;
	lcd_gamma_6 = <90 90>;
	lcd_gamma_7 = <105 105>;
	lcd_gamma_8 = <120 120>;
	lcd_gamma_9 = <135 135>;
	lcd_gamma_10 = <150 150>;
	lcd_gamma_11 = <165 165>;
	lcd_gamma_12 = <180 180>;
	lcd_gamma_13 = <195 195>;
	lcd_gamma_14 = <210 210>;
	lcd_gamma_15 = <225 225>;
	lcd_gamma_16 = <240 240>;
	lcd_gamma_17 = <255 255>;
	base_config_end     = <1>;
};

&tv0 {
	interface       = <1>;

	dac_type0       = <0>;
	dac_src0        = <3>;

	status          = "okay";
};

&tv1 {
	interface       = <0>;
	dac_type0       = <0>;
	dac_src0        = <3>;
	eldo2-supply    = <&reg_eldo2>;
	tv_power        = "eldo2";
	status          = "disabled";
};


&tvd {
	tvd_sw           = <1>;
	tvd_interface    = <0>;
	tvd_format       = <0>;
	tvd_system       = <1>;
	tvd_row          = <2>;
	tvd_column       = <2>;
	tvd_channel0_en  = <1>;
	tvd_channel1_en  = <2>;
	tvd_channel2_en  = <3>;
	tvd_channel3_en  = <4>;
	tvd_power0       = "eldo2";
	eldo2-supply  = <&reg_eldo2>;
};

&tvd0 {
	tvd_used = <1>;
	tvd_if = <0>;
	agc_auto_enable  = <1>;
	agc_manual_value = <64>;
	cagc_enable      = <1>;
	fliter_used		 = <1>;
};

&tvd1 {
	tvd_used = <1>;
	tvd_if = <0>;
	agc_auto_enable  = <1>;
	agc_manual_value = <64>;
	cagc_enable      = <1>;
	fliter_used		 = <1>;
};

&tvd2{
	tvd_used = <1>;
	tvd_if = <0>;
	agc_auto_enable  = <1>;
	agc_manual_value = <64>;
	cagc_enable      = <1>;
	fliter_used		 = <1>;
};

&tvd3 {
	tvd_used = <1>;
	tvd_if = <0>;
	agc_auto_enable  = <1>;
	agc_manual_value = <64>;
	cagc_enable      = <1>;
	fliter_used		 = <1>;
};

&cpu0 {
	cpu-supply = <&reg_dcdc2>;
};

&gpu {
	dvfs_status = <1>;
	temp_ctrl_status  = <1>;
	scene_ctrl_status = <1>;
	operating-points = <
	/* KHz   uV */
	384000 1100000
	312000 1100000
	240000 1100000
	144000 1100000
	>;
};

&pwm0 {
	pinctrl-names = "active", "sleep";
	pinctrl-0 = <&pwm0_pin_a>;
	pinctrl-1 = <&pwm0_pin_b>;
	status = "disabled";
};

&pwm1 {
	pinctrl-names = "active", "sleep";
	pinctrl-0 = <&pwm1_pin_a>;
	pinctrl-1 = <&pwm1_pin_b>;
	status = "disabled";
};

&codec {
	avcc-external;
	avcc-supply	= <&reg_aldo3>;
	avcc-vol	= <3000000>;
	dvcc-external;
	dvcc-supply	= <&reg_dcdc1>;
	dvcc-vol	= <3000000>;

	dac-vol			= <63>;		/* default value:63 range:0->63 */
	adc-gain		= <3>;		/* default value:3  range:0->7 */
	mic1-gain		= <4>;		/* default value:4  range:0->7 */
	mic2-gain		= <4>;		/* default value:4  range:0->7 */
	mic1-to-omix-gain	= <3>;		/* default value:3  range:0->7 */
	mic2-to-omix-gain	= <3>;		/* default value:3  range:0->7 */
	fmin-to-omix-gain	= <3>;		/* default value:3  range:0->7 */
	linein-to-omix-gain	= <3>;		/* default value:3  range:0->7 */
	lineinl-to-romix-gain	= <3>;		/* default value:3  range:0->7 */
	lineinr-to-lomix-gain	= <3>;		/* default value:3  range:0->7 */
	phoneout-gain		= <3>;		/* default value:3  range:0->7 */
	hpout-gain		= <63>;		/* default value:59 range:0->63 */

	pa-pin-max	= <1>;
	pa-pin-0	= <&pio PB 16 GPIO_ACTIVE_HIGH>;
	pa-pin-level-0	= <1>;
	pa-pin-msleep-0	= <0>;
	/* pa-pin-1	= <&pio PB 3 GPIO_ACTIVE_HIGH>; */
	/* pa-pin-level-1	= <1>; */
	/* pa-pin-msleep-1	= <0>; */
	status = "okay";
};

&codec_plat {
	status = "okay";
};

&codec_mach {
	status = "okay";
	soundcard-mach,cpu {
		sound-dai = <&codec_plat>;
	};
	soundcard-mach,codec {
		sound-dai = <&codec>;
	};
};

&spdif_plat {
	pinctrl_used;
	pinctrl-names = "default","sleep";
	pinctrl-0 = <&spdif_pins_a>;
	pinctrl-1 = <&spdif_pins_b>;
	tx-hub-en;
	status = "disabled";
};

&spdif_mach {
	status = "okay";
};

&daudio0_plat {
	tdm-num = <0>;
	tx-pin = <0>;
	rx-pin = <0>;

	/* pinctrl-used; */
	/* pinctrl-names = "default","sleep"; */
	/* pinctrl-0 = <&daudio0_pins_a>; */
	/* pinctrl-1 = <&daudio0_pins_b>; */

	tx-hub-en;
	status = "disabled";
};

&daudio0_mach {
	soundcard-mach,format = "i2s";
	soundcard-mach,frame-master = <&daudio0_cpu>;
	soundcard-mach,bitclock-master = <&daudio0_cpu>;
	/* soundcard-mach,frame-inversion; */
	/* soundcard-mach,bitclock-inversion; */
	soundcard-mach,slot-num = <2>;
	soundcard-mach,slot-width = <32>;
	status = "okay";
	daudio0_cpu: soundcard-mach,cpu {
		sound-dai = <&daudio0_plat>;
		/* note: pll freq = 24.576M or 22.5792M * pll-fs */
		soundcard-mach,pll-fs = <1>;
		soundcard-mach,mclk-fp;
		soundcard-mach,mclk-fs = <0>;
	};
	daudio0_codec: soundcard-mach,codec {
	};
};

&daudio1_plat {
	tdm-num = <0>;
	tx-pin = <0>;
	rx-pin = <0>;
	/* pinctrl-used; */
	/* pinctrl-names = "default","sleep"; */
	/* pinctrl-0 = <&daudio1_pins_a>; */
	/* pinctrl-1 = <&daudio1_pins_b>; */
	tx-hub-en;
	status = "disabled";
};

&daudio1_mach {
	soundcard-mach,format = "i2s";
	soundcard-mach,frame-master = <&daudio1_cpu>;
	soundcard-mach,bitclock-master = <&daudio1_cpu>;
	/* soundcard-mach,frame-inversion; */
	/* soundcard-mach,bitclock-inversion; */
	soundcard-mach,slot-num = <2>;
	soundcard-mach,slot-width = <32>;
	status = "okay";
	daudio1_cpu: soundcard-mach,cpu {
		sound-dai = <&daudio1_plat>;
		/* note: pll freq = 24.576M or 22.5792M * pll-fs */
		soundcard-mach,pll-fs = <1>;
		soundcard-mach,mclk-fp;
		soundcard-mach,mclk-fs = <0>;
	};
	daudio1_codec: soundcard-mach,codec {
	};
};

&daudio2_plat {
	tdm-num		= <0>;
	tx-pin		= <0 1 2 3>;
	rx-pin		= <0>;
	dai-type        = "hdmi";
	/* pinctrl-used; */
	/* pinctrl-names = "default","sleep"; */
	/* pinctrl-0 = <&daudio2_pins_a>; */
	/* pinctrl-1 = <&daudio2_pins_b>; */
	tx-hub-en;
	status = "okay";
};

&daudio2_mach {
	soundcard-mach,format = "i2s";
	soundcard-mach,frame-master = <&daudio2_cpu>;
	soundcard-mach,bitclock-master = <&daudio2_cpu>;
	/* soundcard-mach,frame-inversion; */
	/* soundcard-mach,bitclock-inversion; */
	soundcard-mach,slot-num = <2>;
	soundcard-mach,slot-width = <32>;
	status = "okay";
	daudio2_cpu: soundcard-mach,cpu {
		sound-dai = <&daudio2_plat>;
		/* note: pll freq = 24.576M or 22.5792M * pll-fs */
		soundcard-mach,pll-fs = <1>;
		soundcard-mach,mclk-fp;
		soundcard-mach,mclk-fs = <0>;
	};
	daudio2_codec: soundcard-mach,codec {
	};
};

&sata {
	ahci-supply = <&reg_dldo4>;
	phy-supply = <&reg_eldo3>;
	status = "okay";
};

&rtc {
	extern_clocks;
	status = "disabled";
};
